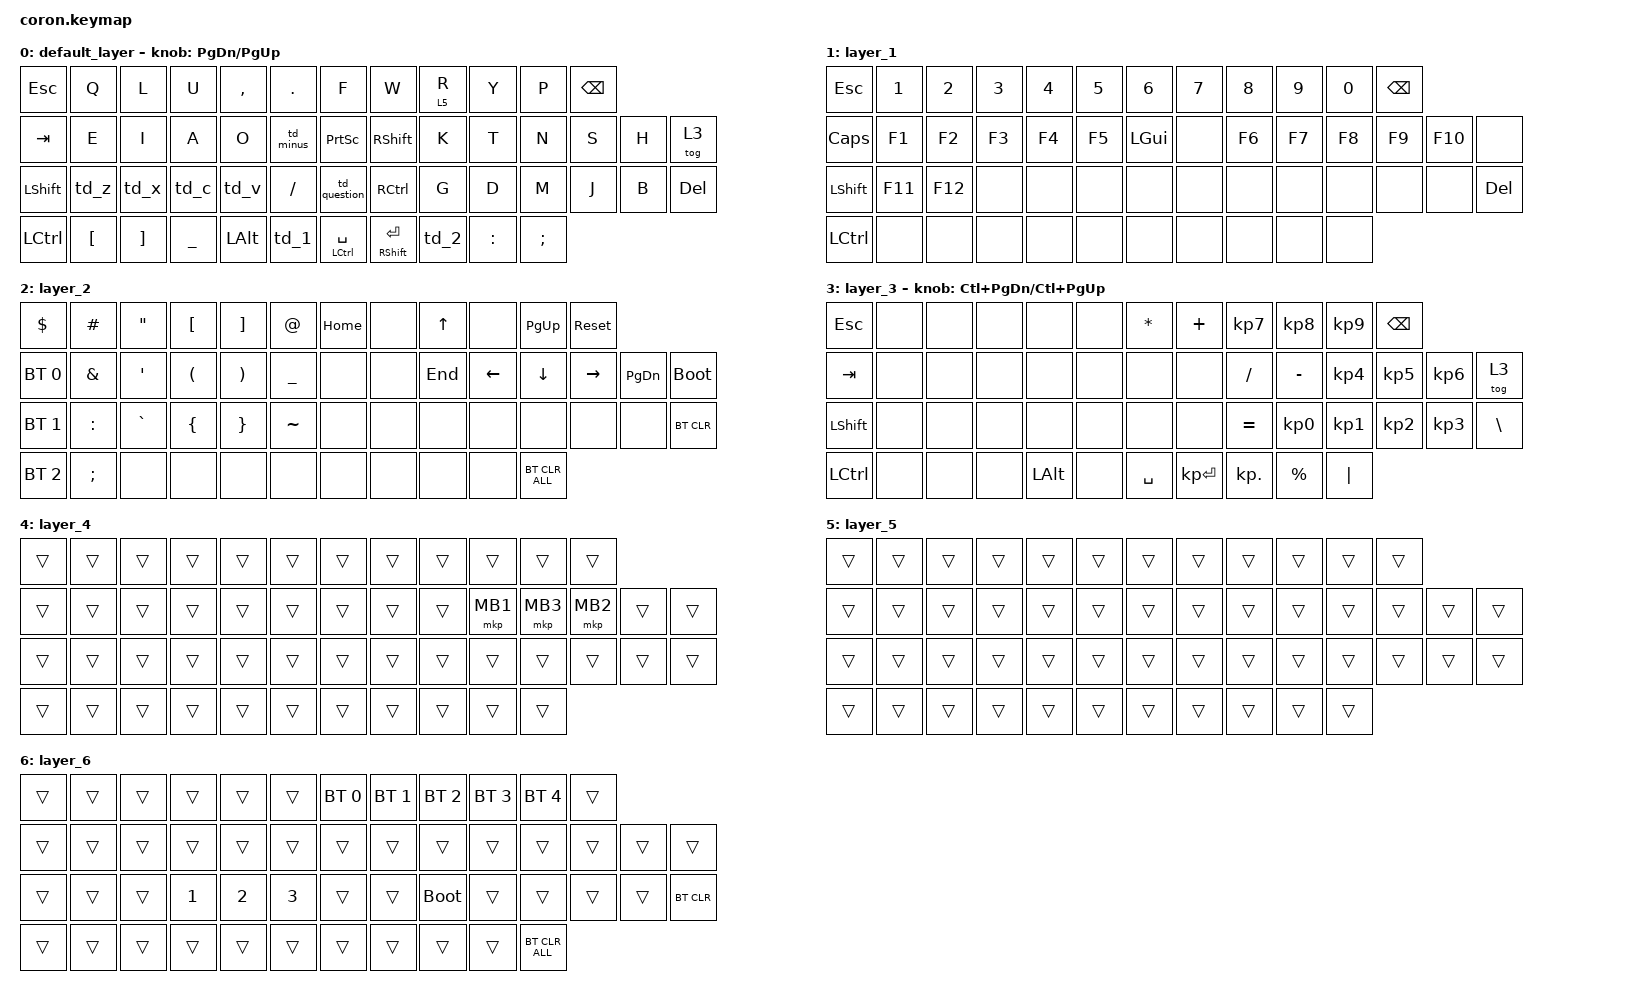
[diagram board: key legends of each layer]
/* coron.keymap */

#include <behaviors.dtsi>
#include <dt-bindings/zmk/bt.h>
#include <dt-bindings/zmk/keys.h>
#include <dt-bindings/zmk/pointing.h>

&mt {
    flavor = "balanced";
    quick-tap-ms = <0>;
};

&trackball {
    automouse-layer = <4>;
    scroll-layers = <5>;
};

/ {
    combos {
        compatible = "zmk,combos";

        /* Note: Key positions have shifted due to added columns. 
           You will need to recalculate these indices later. */

        lang_e {
            bindings = <&to_layer_0 LANGUAGE_2>;
            key-positions = <16 15>;
            layers = <0 4>;
        };

        lang_j {
            bindings = <&to_layer_0 LANGUAGE_1>;
            key-positions = <21 22>;
            layers = <0 4>;
        };

        double_n {
            bindings = <&double_n>;
            key-positions = <22 23>;
            layers = <0>;
        };
    };

    macros {
        to_layer_0: to_layer_0 {
            compatible = "zmk,behavior-macro-one-param";
            #binding-cells = <1>;
            bindings = <&to 0 &macro_param_1to1 &kp MACRO_PLACEHOLDER>;
            label = "TO_LAYER_0";
        };

        double_n: double_N {
            compatible = "zmk,behavior-macro";
            #binding-cells = <0>;
            bindings = <&kp N &kp N>;
            label = "DOUBLE_N";
        };
    };

    behaviors {
        lt_to_layer_0: lt_to_layer_0 {
            compatible = "zmk,behavior-hold-tap";
            label = "LAYER_TAP_TO_0";
            bindings = <&mo>, <&to_layer_0>;

            #binding-cells = <2>;
            tapping-term-ms = <200>;
        };

        td_z: td_z {
            compatible = "zmk,behavior-tap-dance";
            label = "TD_Z";
            #binding-cells = <0>;
            bindings = <&kp Z>, <&kp LC(Z)>, <&kp LC(LS(Z))>;
        };

        td_x: td_x {
            compatible = "zmk,behavior-tap-dance";
            label = "TD_X";
            #binding-cells = <0>;
            bindings = <&kp X>, <&kp LC(X)>;
        };

        td_c: td_c {
            compatible = "zmk,behavior-tap-dance";
            label = "TD_C";
            #binding-cells = <0>;
            bindings = <&kp C>, <&kp LC(C)>;
        };

        td_v: td_v {
            compatible = "zmk,behavior-tap-dance";
            label = "TD_V";
            #binding-cells = <0>;
            bindings = <&kp V>, <&kp LC(V)>;
        };

        td_minus: td_minus {
            compatible = "zmk,behavior-tap-dance";
            label = "TD_MINUS";
            #binding-cells = <0>;
            bindings = <&kp MINUS>, <&kp TILDE>;
        };

        td_question: td_question {
            compatible = "zmk,behavior-tap-dance";
            label = "TD_QUESTION";
            #binding-cells = <0>;
            bindings = <&kp QUESTION>, <&kp EXCLAMATION>;
        };

        td_1: td_1 {
            compatible = "zmk,behavior-tap-dance";
            label = "TD_1";
            #binding-cells = <0>;
            bindings = <&mo 1>, <&kp LEFT_CONTROL>;
        };

        td_2: td_2 {
            compatible = "zmk,behavior-tap-dance";
            label = "TD_2";
            #binding-cells = <0>;
            bindings = <&lt 2 BACKSPACE>, <&kp RIGHT_SHIFT>;
        };
    };

    keymap {
        compatible = "zmk,keymap";

        default_layer {
            bindings = <
&kp ESC           &kp Q             &kp L              &kp U      &kp COMMA     &kp PERIOD  &kp F                   &kp W                  &lt 5 R  &kp Y      &kp P          &kp BACKSPACE
&kp TAB           &kp E             &kp I              &kp A      &kp O         &td_minus   &kp PRINTSCREEN         &kp RIGHT_SHIFT        &kp K    &kp T      &kp N          &kp S          &kp H  &tog 3
&kp LEFT_SHIFT    &td_z             &td_x              &td_c      &td_v         &kp SLASH   &td_question            &kp RIGHT_CONTROL      &kp G    &kp D      &kp M          &kp J          &kp B  &kp DELETE
&kp LEFT_CONTROL  &kp LEFT_BRACKET  &kp RIGHT_BRACKET  &kp UNDER  &kp LEFT_ALT  &td_1       &mt LEFT_CONTROL SPACE  &mt RIGHT_SHIFT ENTER  &td_2    &kp COLON  &kp SEMICOLON
            >;

            sensor-bindings = <&inc_dec_kp PAGE_DOWN PAGE_UP>;
        };

        layer_1 {
            bindings = <
&kp ESCAPE        &kp NUMBER_1  &kp NUMBER_2  &kp NUMBER_3  &kp NUMBER_4  &kp NUMBER_5  &kp NUMBER_6  &kp NUMBER_7  &kp NUMBER_8  &kp NUMBER_9  &kp NUMBER_0  &kp BACKSPACE
&kp CAPSLOCK      &kp F1        &kp F2        &kp F3        &kp F4        &kp F5        &kp LEFT_GUI  &none         &kp F6        &kp F7        &kp F8        &kp F9         &kp F10  &none
&kp LEFT_SHIFT    &kp F11       &kp F12       &none         &none         &none         &none         &none         &none         &none         &none         &none          &none    &kp DELETE
&kp LEFT_CONTROL  &none         &none         &none         &none         &none         &none         &none         &none         &none         &none
            >;
        };

        layer_2 {
            bindings = <
&kp DOLLAR    &kp HASH       &kp DOUBLE_QUOTES  &kp LEFT_BRACKET      &kp RIGHT_BRACKET      &kp AT_SIGN     &kp HOME  &none  &kp UP_ARROW  &none           &kp PAGE_UP     &sys_reset
&bt BT_SEL 0  &kp AMPERSAND  &kp SINGLE_QUOTE   &kp LEFT_PARENTHESIS  &kp RIGHT_PARENTHESIS  &kp UNDERSCORE  &none     &none  &kp END       &kp LEFT_ARROW  &kp DOWN_ARROW  &kp RIGHT_ARROW  &kp PAGE_DOWN  &bootloader
&bt BT_SEL 1  &kp COLON      &kp GRAVE          &kp LEFT_BRACE        &kp RIGHT_BRACE        &kp TILDE       &none     &none  &none         &none           &none           &none            &none          &bt BT_CLR
&bt BT_SEL 2  &kp SEMICOLON  &none              &none                 &none                  &none           &none     &none  &none         &none           &bt BT_CLR_ALL
            >;
        };

        layer_3 {
            bindings = <
&kp ESCAPE        &none  &none  &none  &none         &none  &kp ASTERISK  &kp PLUS      &kp KP_NUMBER_7  &kp KP_NUMBER_8  &kp KP_NUMBER_9  &kp BACKSPACE
&kp TAB           &none  &none  &none  &none         &none  &none         &none         &kp SLASH        &kp MINUS        &kp KP_NUMBER_4  &kp KP_NUMBER_5  &kp KP_NUMBER_6  &tog 3
&kp LEFT_SHIFT    &none  &none  &none  &none         &none  &none         &none         &kp EQUAL        &kp KP_NUMBER_0  &kp KP_NUMBER_1  &kp KP_NUMBER_2  &kp KP_NUMBER_3  &kp BACKSLASH
&kp LEFT_CONTROL  &none  &none  &none  &kp LEFT_ALT  &none  &kp SPACE     &kp KP_ENTER  &kp KP_DOT       &kp PERCENT      &kp PIPE
            >;

            sensor-bindings = <&inc_dec_kp LC(PAGE_DOWN) LC(PAGE_UP)>;
        };

        layer_4 {
            bindings = <
&trans  &trans  &trans  &trans  &trans  &trans  &trans  &trans  &trans  &trans    &trans    &trans
&trans  &trans  &trans  &trans  &trans  &trans  &trans  &trans  &trans  &mkp MB1  &mkp MB3  &mkp MB2  &trans  &trans
&trans  &trans  &trans  &trans  &trans  &trans  &trans  &trans  &trans  &trans    &trans    &trans    &trans  &trans
&trans  &trans  &trans  &trans  &trans  &trans  &trans  &trans  &trans  &trans    &trans
            >;
        };

        layer_5 {
            bindings = <
&trans  &trans  &trans  &trans  &trans  &trans  &trans  &trans  &trans  &trans  &trans  &trans
&trans  &trans  &trans  &trans  &trans  &trans  &trans  &trans  &trans  &trans  &trans  &trans  &trans  &trans
&trans  &trans  &trans  &trans  &trans  &trans  &trans  &trans  &trans  &trans  &trans  &trans  &trans  &trans
&trans  &trans  &trans  &trans  &trans  &trans  &trans  &trans  &trans  &trans  &trans
            >;
        };

        layer_6 {
            bindings = <
&trans  &trans  &trans  &trans        &trans        &trans        &bt BT_SEL 0  &bt BT_SEL 1  &bt BT_SEL 2  &bt BT_SEL 3  &bt BT_SEL 4    &trans
&trans  &trans  &trans  &trans        &trans        &trans        &trans        &trans        &trans        &trans        &trans          &trans  &trans  &trans
&trans  &trans  &trans  &kp NUMBER_1  &kp NUMBER_2  &kp NUMBER_3  &trans        &trans        &bootloader   &trans        &trans          &trans  &trans  &bt BT_CLR
&trans  &trans  &trans  &trans        &trans        &trans        &trans        &trans        &trans        &trans        &bt BT_CLR_ALL
            >;
        };
    };
};
